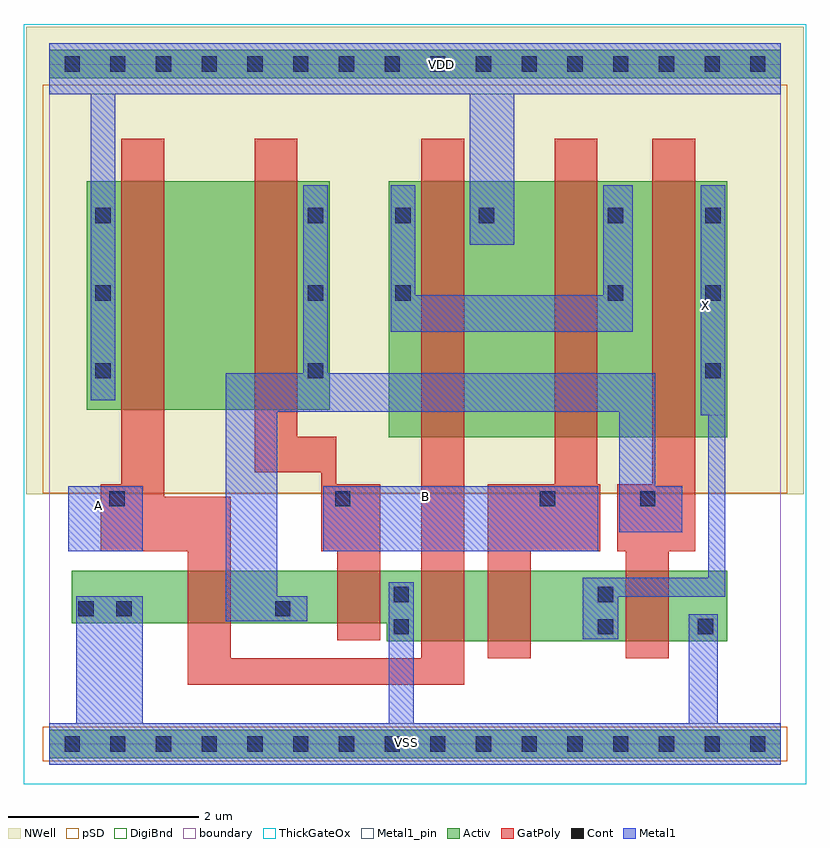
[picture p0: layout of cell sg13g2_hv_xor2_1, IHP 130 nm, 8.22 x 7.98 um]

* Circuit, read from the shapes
.subckt sg13g2_hv_xor2_1 A B VDD VSS X
XM1 n1 A VSS VSS sg13_hv_nmos w=0.55u l=0.45u
XM2 VSS B n1 VSS sg13_hv_nmos w=0.55u l=0.45u
XM3 n2 A VSS VSS sg13_hv_nmos w=0.74u l=0.45u
XM4 X B n2 VSS sg13_hv_nmos w=0.74u l=0.45u
XM5 VSS n1 X VSS sg13_hv_nmos w=0.74u l=0.45u
XM6 n3 A VDD VDD sg13_hv_pmos w=2.4u l=0.45u
XM7 n1 B n3 VDD sg13_hv_pmos w=2.4u l=0.45u
XM8 VDD A n4 VDD sg13_hv_pmos w=2.69u l=0.45u
XM9 n4 B VDD VDD sg13_hv_pmos w=2.69u l=0.45u
XM10 X n1 n4 VDD sg13_hv_pmos w=2.69u l=0.45u
.ends

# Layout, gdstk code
import gdstk
lib = gdstk.Library(unit=1e-6, precision=1e-09)
def R(c, l, rs):  # rectangles x0, y0, x1, y1
    for r in rs: c.add(gdstk.rectangle(r[:2], r[2:], *l))
def A(c, l, x, y, w, h, nx, ny, dx, dy):  # array of equal rectangles
    R(c, l, [(x+i*dx, y+j*dy, x+i*dx+w, y+j*dy+h) for i in range(nx) for j in range(ny)])
def P(c, l, *ps):  # polygons
    for p in ps: c.add(gdstk.Polygon(p, *l))
Activ = (1, 0)
GatPoly = (5, 0)
Cont = (6, 0)
Metal1 = (8, 0)
Metal1_pin = (8, 2)
pSD = (14, 0)
DigiBnd = (16, 0)
NWell = (31, 0)
ThickGateOx = (44, 0)
boundary = (189, 4)

sg13g2_hv_xor2_1 = lib.new_cell('sg13g2_hv_xor2_1')
R(sg13g2_hv_xor2_1, Activ, [(0,-0.15,7.68,0.15), (3.565,3.22,7.12,5.91), (0.395,3.51,2.945,5.91), (0,6.99,7.68,7.29)])
P(sg13g2_hv_xor2_1, Activ, [(3.545,1.08),(3.545,1.27),(0.235,1.27),(0.235,1.82),(7.12,1.82),(7.12,1.08)])
P(sg13g2_hv_xor2_1, GatPoly, [(3.025,1.09),(3.025,2.025),(2.855,2.025),(2.855,2.855),(2.155,2.855),(2.155,6.355),(2.605,6.355),(2.605,3.225),(3.015,3.225),(3.015,2.725),(3.475,2.725),(3.475,1.09)],
  [(4.605,0.9),(4.605,2.725),(5.305,2.725),(5.305,6.355),(5.755,6.355),(5.755,2.725),(5.785,2.725),(5.785,2.025),(5.055,2.025),(5.055,0.9)],
  [(6.055,0.9),(6.055,2.025),(5.965,2.025),(5.965,2.725),(6.33,2.725),(6.33,6.355),(6.78,6.355),(6.78,2.025),(6.505,2.025),(6.505,0.9)],
  [(1.455,0.62),(1.455,2.025),(0.54,2.025),(0.54,2.725),(0.755,2.725),(0.755,6.355),(1.205,6.355),(1.205,2.595),(1.905,2.595),(1.905,0.9),(3.905,0.9),(3.905,6.355),(4.355,6.355),(4.355,0.62)])
A(sg13g2_hv_xor2_1, Cont, 0.16, -0.08, 0.16, 0.16, 16, 2, 0.48, 7.14)
A(sg13g2_hv_xor2_1, Cont, 0.485, 3.84, 0.16, 0.16, 1, 3, 0, 0.815)
A(sg13g2_hv_xor2_1, Cont, 2.715, 3.84, 0.16, 0.16, 1, 3, 0, 0.815)
A(sg13g2_hv_xor2_1, Cont, 6.89, 3.84, 0.16, 0.16, 1, 3, 0, 0.815)
R(sg13g2_hv_xor2_1, Cont, [(3.615,1.15,3.775,1.31), (5.76,1.15,5.92,1.31), (6.81,1.155,6.97,1.315), (0.305,1.34,0.465,1.5), (0.705,1.34,0.865,1.5), (2.37,1.34,2.53,1.5), (3.615,1.49,3.775,1.65), (5.76,1.49,5.92,1.65), (0.63,2.495,0.79,2.655), (3,2.495,3.16,2.655), (5.15,2.495,5.31,2.655), (6.205,2.495,6.365,2.655), (3.635,4.655,3.795,4.815), (5.865,4.655,6.025,4.815), (3.635,5.47,3.795,5.63), (4.51,5.47,4.67,5.63), (5.865,5.47,6.025,5.63)])
R(sg13g2_hv_xor2_1, Metal1, [(0.2,2.025,0.98,2.705), (2.875,2.025,5.765,2.705)])
P(sg13g2_hv_xor2_1, Metal1, [(3.585,4.33),(3.585,5.865),(3.845,5.865),(3.845,4.71),(5.815,4.71),(5.815,5.865),(6.125,5.865),(6.125,4.33)],
  [(0.435,3.61),(0.435,6.825),(0,6.825),(0,7.36),(7.68,7.36),(7.68,6.825),(4.88,6.825),(4.88,5.24),(4.415,5.24),(4.415,6.825),(0.695,6.825),(0.695,3.61)],
  [(0,-0.22),(0,0.22),(0.285,0.22),(0.285,1.55),(0.98,1.55),(0.98,0.22),(3.565,0.22),(3.565,1.7),(3.825,1.7),(3.825,0.22),(6.715,0.22),(6.715,1.365),(7.02,1.365),(7.02,0.22),(7.68,0.22),(7.68,-0.22)],
  [(5.6,1.1),(5.6,1.745),(6.92,1.745),(6.92,3.45),(6.84,3.45),(6.84,5.865),(7.1,5.865),(7.1,1.545),(5.975,1.545),(5.975,1.1)],
  [(1.855,1.29),(1.855,3.895),(2.665,3.895),(2.665,5.865),(2.925,5.865),(2.925,3.895),(6.365,3.895),(6.365,2.705),(6.645,2.705),(6.645,2.225),(5.985,2.225),(5.985,3.49),(2.395,3.49),(2.395,1.55),(2.71,1.55),(2.71,1.29)])
R(sg13g2_hv_xor2_1, Metal1_pin, [(0,-0.22,7.68,0.22), (0.2,2.025,0.98,2.705), (2.875,2.025,5.765,2.705), (6.84,3.45,7.1,5.865), (0,6.825,7.68,7.36)])
R(sg13g2_hv_xor2_1, pSD, [(-0.07,-0.18,7.75,0.18), (-0.07,2.635,7.75,6.92)])
R(sg13g2_hv_xor2_1, DigiBnd, [(0,0,7.68,7.14)])
R(sg13g2_hv_xor2_1, NWell, [(-0.24,2.625,7.92,7.53)])
R(sg13g2_hv_xor2_1, ThickGateOx, [(-0.27,-0.42,7.95,7.56)])
R(sg13g2_hv_xor2_1, boundary, [(0,0,7.68,7.14)])
sg13g2_hv_xor2_1.add(gdstk.Label('X', (6.895,4.605), layer=8, texttype=25))
sg13g2_hv_xor2_1.add(gdstk.Label('VDD', (4.115,7.135), layer=8, texttype=25))
sg13g2_hv_xor2_1.add(gdstk.Label('B', (3.955,2.6), layer=8, texttype=25))
sg13g2_hv_xor2_1.add(gdstk.Label('A', (0.52,2.505), layer=8, texttype=25))
sg13g2_hv_xor2_1.add(gdstk.Label('VSS', (3.755,0.02), layer=8, texttype=25))

lib.write_gds('sg13g2_hv_xor2_1.gds')
